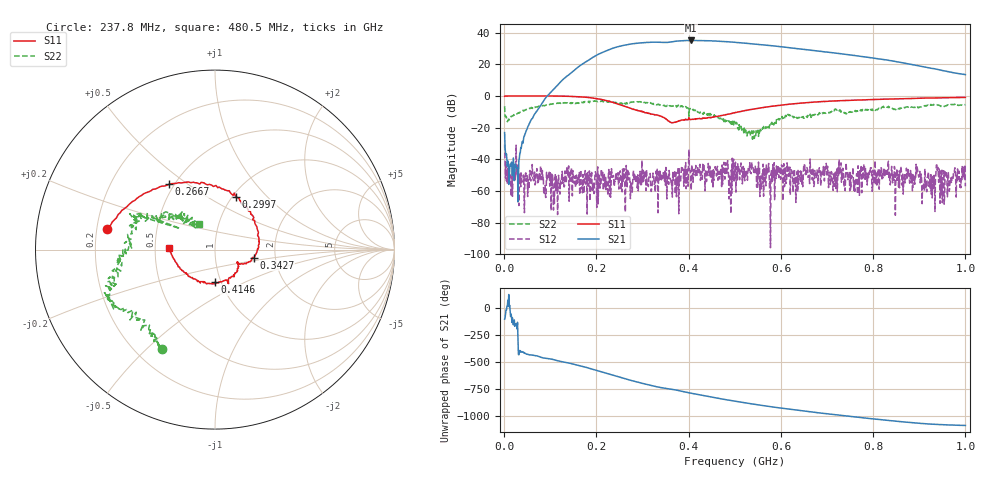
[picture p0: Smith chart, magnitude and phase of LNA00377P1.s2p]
! Created with skrf 1.9.0 (http://scikit-rf.org).
# Hz S RI R 50.0
!freq ReS11 ImS11 ReS21 ImS21 ReS12 ImS12 ReS22 ImS22
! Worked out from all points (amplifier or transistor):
!   1001 points, 1 MHz to 1 GHz, reference 50 ohm
!   highest |S21| = 35.1 dB at 405.6 MHz (marker M1)
!   |S21| within 3 dB of that: 260.6 MHz to 568.8 MHz (308.1 MHz wide, 74.3 % of centre)
!   unconditionally stable (mu >= 1): 299.1 MHz to 400.1 MHz; 401 MHz to 833.1 MHz; 833.2 MHz to end of sweep (the widest 3 of 34)
!   at 166.8 MHz: K = 2.22, MAG = 31.1 dB, |S12| = -55.0 dB
!   at 500.5 MHz: K = 2.15, MAG = 34.5 dB, |S12| = -47.1 dB
!   at 1 GHz: K = 10.84, MAG = 21.9 dB, |S12| = -57.0 dB
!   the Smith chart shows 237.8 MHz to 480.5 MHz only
!   S11 on the Smith chart (normalised r, x): 237.8 MHz: 0.24, +0.09; 266.7 MHz: 0.47, +0.42; 299.7 MHz: 1.04, +0.68; 342.7 MHz: 1.55, -0.15; 414.6 MHz: 0.94, -0.35; 480.5 MHz: 0.59, +0.01
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1000000  0.9781 0.00196  -0.0122 -0.0682  -0.0292 -0.000548  0.2961 0.367
1.08892e8  0.5108 -0.8527  -0.7981 -1.512  0.000261 -0.000306  0.4214 -0.3832
1.67833e8  -0.2557 -0.8942  -9.794 -0.5775  0.000162 0.00116  0.0349 -0.6317
2.07793e8  -0.6811 -0.3928  -15.64 15.3  -0.000913 -0.000809  -0.2027 -0.6489
2.37763e8  -0.6017 0.1144  -3.949 32.78  0.000851 0.00188  -0.2927 -0.5547
2.66734e8  -0.2571 0.3636  20.42 36.52  -0.00132 0.000252  -0.464 -0.3707
2.99701e8  0.1157 0.2935  44 19.52  -0.00293 -0.000432  -0.5877 -0.255
3.34666e8  0.2434 0.0153  49.01 -9.681  -0.00147 0.0017  -0.5268 -0.0541
3.42658e8  0.2172 -0.0447  47.07 -15.19  -0.000575 0.00286  -0.5138 -0.0222
3.75625e8  0.1296 -0.0863  41.04 -35.65  -0.00152 0.00195  -0.4511 0.1654
4.05595e8  0.0471 -0.174  21.32 -52.53  0.000127 0.00104  -0.3489 0.1799
4.14586e8  0.00169 -0.1807  14.03 -54.72  0.00296 -0.000643  -0.3092 0.1751
4.45555e8  -0.1525 -0.1408  -10.22 -54.08  0.00442 0.00415  -0.2048 0.1858
4.8052e8  -0.2571 0.0117  -31.57 -41.45  0.00574 0.00516  -0.0887 0.142
5.005e8  -0.2674 0.1241  -39.19 -30.6  0.0044 -3.79e-05  -0.0902 0.0928
5.39461e8  -0.1922 0.3303  -43.34 -8.755  0.00562 -0.000529  -0.0695 -0.0131
5.84416e8  0.000844 0.4791  -36.58 10.88  0.000853 0.0026  -0.1061 -0.0596
6.25375e8  0.2 0.5249  -24.86 20.81  0.00237 -0.000616  -0.1785 -0.1406
6.67333e8  0.4003 0.4882  -12.78 24.31  0.000543 -0.00265  -0.2263 -0.0897
7.53247e8  0.6789 0.2753  4.813 18.87  0.000739 -0.00298  -0.3033 -0.0254
8.34166e8  0.7967 0.0133  10.34 8.417  -0.00225 -0.00088  -0.4255 -0.00648
1e9  0.7266 -0.5282  4.687 -0.567  0.000897 -0.00108  -0.3901 0.3657
